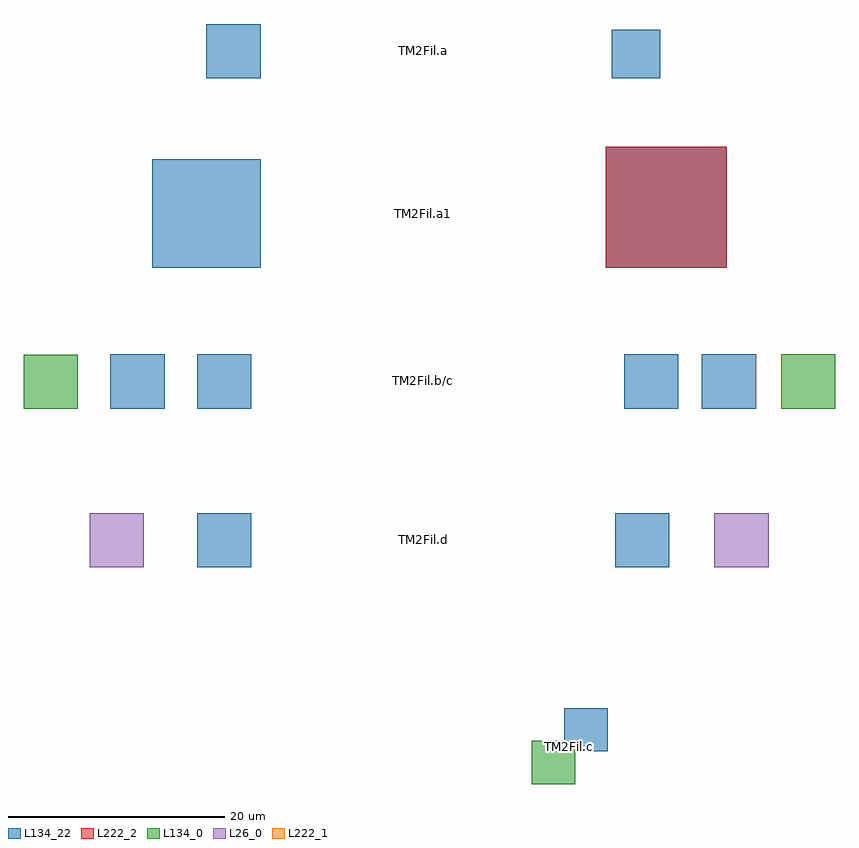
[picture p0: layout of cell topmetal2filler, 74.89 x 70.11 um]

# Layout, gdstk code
import gdstk
lib = gdstk.Library(unit=1e-6, precision=1e-09)
def R(c, l, rs):  # rectangles x0, y0, x1, y1
    for r in rs: c.add(gdstk.rectangle(r[:2], r[2:], *l))
L26_0 = (26, 0)
L134_0 = (134, 0)
L134_22 = (134, 22)
L222_1 = (222, 1)
L222_2 = (222, 2)

topmetal2filler = lib.new_cell('topmetal2filler')
R(topmetal2filler, L26_0, [(-30.77,-55.065,-25.77,-50.065), (26.85,-55.065,31.85,-50.065)])
R(topmetal2filler, L134_0, [(10,-75.065,14,-71.065), (-36.87,-40.445,-31.87,-35.445), (33.02,-40.44,38.02,-35.44)])
R(topmetal2filler, L134_22, [(13,-72.065,17,-68.065), (-20.87,-55.065,-15.87,-50.065), (17.71,-55.065,22.71,-50.065), (-28.87,-40.44,-23.87,-35.44), (-20.87,-40.44,-15.87,-35.44), (18.535,-40.44,23.535,-35.44), (25.71,-40.44,30.71,-35.44), (-25.01,-27.445,-15.01,-17.445), (16.85,-27.445,28.02,-16.275), (-20.01,-9.95,-15.01,-4.95), (17.4,-9.95,21.85,-5.5)])
R(topmetal2filler, L222_1, [(13,-72.065,14,-71.065), (30.705,-40.44,30.715,-35.44), (33.015,-40.44,33.025,-35.44)])
R(topmetal2filler, L222_2, [(16.85,-27.445,28.02,-16.275)])
topmetal2filler.add(gdstk.Label('TM2Fil.a', (0,-7.36), layer=63, texttype=0))
topmetal2filler.add(gdstk.Label('TM2Fil.a1', (0,-22.42), layer=63, texttype=0))
topmetal2filler.add(gdstk.Label('TM2Fil.b/c', (0,-37.85), layer=63, texttype=0))
topmetal2filler.add(gdstk.Label('TM2Fil.d', (0,-52.48), layer=63, texttype=0))
topmetal2filler.add(gdstk.Label('PASS', (-12,5), layer=63, texttype=0))
topmetal2filler.add(gdstk.Label('FAIL', (12,5), layer=63, texttype=0))
topmetal2filler.add(gdstk.Label('5.26 TopMetal2:filler', (0,21), layer=63, texttype=0))
topmetal2filler.add(gdstk.Label('TM2Fil.c', (13.5,-71.565), layer=63, texttype=0))

lib.write_gds('topmetal2filler.gds')
